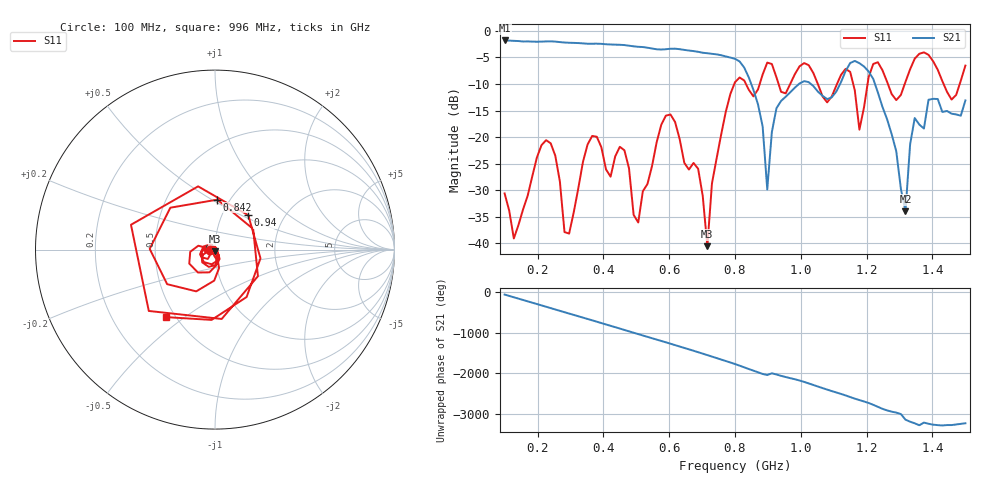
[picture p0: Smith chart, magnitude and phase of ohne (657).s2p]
! NanoVNA-App
! Date: 2025-09-25 14:25:55
! Start: 100MHz Stop: 1,5GHz Points: 101
! S-Parameter data: F S11 S21 S12 S22
# Hz S RI R 50
!  Frequency  S11_Real  S11_Imag  S21_Real  S21_Imag  S12_Real  S12_Imag  S22_Real  S22_Imag
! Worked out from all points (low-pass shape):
!   101 points, 100 MHz to 1.5 GHz, reference 50 ohm
!   highest |S21| = -1.79 dB at 100 MHz (marker M1); lowest = -34.0 dB at 1.318 GHz (marker M2)
!   |S21| within 3 dB of the highest: start of sweep to 771.2 MHz
!   lowest |S11| = -40.6 dB at 716 MHz (marker M3), VSWR 1.02, Z = 49.7 - j0.894 ohm
!   |S11| at or under -10 dB: start of sweep to 797.8 MHz; 833.2 MHz to 875.1 MHz (41.83 MHz wide, 4.9 % of centre); 1.052 GHz to 1.11 GHz (58.23 MHz wide, 5.39 % of centre) (the widest 3 of 7)
!   S12 and S22 are empty: the file has one direction only
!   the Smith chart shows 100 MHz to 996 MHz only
!   S11 on the Smith chart (normalised r, x): 100 MHz: 0.94, -0.01; 842 MHz: 0.88, +0.53; 940 MHz: 1.33, +0.55; 996 MHz: 0.45, -0.43
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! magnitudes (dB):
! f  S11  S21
! 100 MHz  -30.6  -1.8
! 128 MHz  -39.1  -1.9
! 226 MHz  -20.6  -2.0
! 296 MHz  -38.2  -2.2
! 338 MHz  -24.7  -2.3
! 464 MHz  -22.5  -2.7
! 506 MHz  -36.1  -3.0
! 576 MHz  -17.7  -3.5
! 688 MHz  -26.0  -3.9
! 716 MHz  -40.6  -4.2
! 800 MHz  -9.7  -5.3
! 842 MHz  -11.1  -8.8
! 898 MHz  -6.0  -29.9
! 940 MHz  -11.5  -13.2
! 996 MHz  -6.7  -9.9
! 1.038 GHz  -7.9  -10.4
! 1.178 GHz  -18.6  -6.1
! 1.22 GHz  -6.2  -9.0
! 1.276 GHz  -11.9  -19.5
! 1.318 GHz  -9.6  -34.0
! 1.346 GHz  -5.2  -16.4
! 1.5 GHz  -6.5  -13.1
